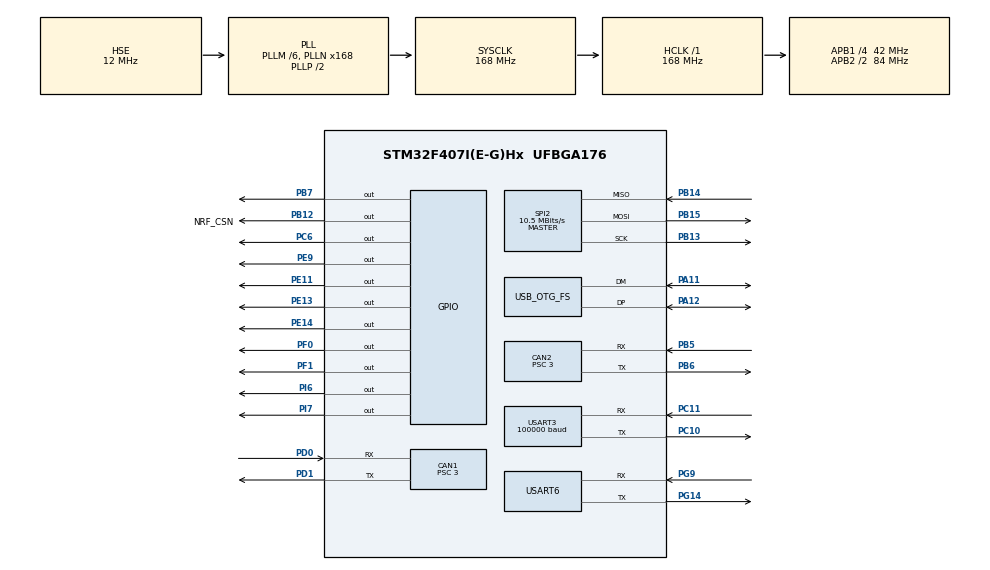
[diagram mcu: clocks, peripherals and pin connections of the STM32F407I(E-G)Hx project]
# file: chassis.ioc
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CAN1.BS1=CAN_BS1_10TQ
CAN1.BS2=CAN_BS2_3TQ
CAN1.CalculateBaudRate=1000000
CAN1.CalculateTimeBit=1000
CAN1.CalculateTimeQuantum=71.42857142857143
CAN1.Prescaler=3
CAN2.BS1=CAN_BS1_10TQ
CAN2.BS2=CAN_BS2_3TQ
CAN2.CalculateBaudRate=1000000
CAN2.CalculateTimeBit=1000
CAN2.CalculateTimeQuantum=71.42857142857143
CAN2.Prescaler=3
Dma.Request0=USART3_RX
Dma.Request1=SPI2_RX
Dma.Request2=SPI2_TX
Dma.SPI2_RX.1.Direction=DMA_PERIPH_TO_MEMORY
Dma.SPI2_RX.1.FIFOMode=DMA_FIFOMODE_DISABLE
Dma.SPI2_RX.1.Instance=DMA1_Stream3
Dma.SPI2_RX.1.MemDataAlignment=DMA_MDATAALIGN_BYTE
Dma.SPI2_RX.1.MemInc=DMA_MINC_ENABLE
Dma.SPI2_RX.1.Mode=DMA_NORMAL
Dma.SPI2_RX.1.PeriphDataAlignment=DMA_PDATAALIGN_BYTE
Dma.SPI2_RX.1.PeriphInc=DMA_PINC_DISABLE
Dma.SPI2_RX.1.Priority=DMA_PRIORITY_LOW
Dma.SPI2_TX.2.Direction=DMA_MEMORY_TO_PERIPH
Dma.SPI2_TX.2.FIFOMode=DMA_FIFOMODE_DISABLE
Dma.SPI2_TX.2.Instance=DMA1_Stream4
Dma.SPI2_TX.2.MemDataAlignment=DMA_MDATAALIGN_BYTE
Dma.SPI2_TX.2.MemInc=DMA_MINC_ENABLE
Dma.SPI2_TX.2.Mode=DMA_NORMAL
Dma.SPI2_TX.2.PeriphDataAlignment=DMA_PDATAALIGN_BYTE
Dma.SPI2_TX.2.PeriphInc=DMA_PINC_DISABLE
Dma.SPI2_TX.2.Priority=DMA_PRIORITY_LOW
Dma.USART3_RX.0.Direction=DMA_PERIPH_TO_MEMORY
Dma.USART3_RX.0.FIFOMode=DMA_FIFOMODE_DISABLE
Dma.USART3_RX.0.Instance=DMA1_Stream1
Dma.USART3_RX.0.MemDataAlignment=DMA_MDATAALIGN_BYTE
Dma.USART3_RX.0.MemInc=DMA_MINC_ENABLE
Dma.USART3_RX.0.Mode=DMA_CIRCULAR
Dma.USART3_RX.0.PeriphDataAlignment=DMA_PDATAALIGN_BYTE
Dma.USART3_RX.0.PeriphInc=DMA_PINC_DISABLE
Dma.USART3_RX.0.Priority=DMA_PRIORITY_VERY_HIGH
Mcu.Family=STM32F4
Mcu.Name=STM32F407I(E-G)Hx
Mcu.Package=UFBGA176
NVIC.CAN1_RX0_IRQn=true\:0\:0\:false\:false\:true\:true\:true\:true
NVIC.CAN2_RX0_IRQn=true\:0\:0\:false\:false\:true\:true\:true\:true
NVIC.DMA1_Stream1_IRQn=true\:0\:0\:false\:false\:true\:false\:true\:true
NVIC.DMA1_Stream3_IRQn=true\:0\:0\:false\:false\:true\:false\:true\:true
NVIC.DMA1_Stream4_IRQn=true\:0\:0\:false\:false\:true\:false\:true\:true
NVIC.OTG_FS_IRQn=true\:0\:0\:false\:false\:true\:false\:true\:true
NVIC.PriorityGroup=NVIC_PRIORITYGROUP_4
NVIC.TIM1_UP_TIM10_IRQn=true\:0\:0\:false\:false\:true\:true\:true\:true
NVIC.TIM2_IRQn=true\:0\:0\:false\:false\:true\:true\:true\:true
NVIC.USART3_IRQn=true\:0\:0\:false\:false\:true\:true\:true\:true
PA11.Mode=Device_Only
PA11.Signal=USB_OTG_FS_DM
PA12.Mode=Device_Only
PA12.Signal=USB_OTG_FS_DP
PA13.Mode=Serial_Wire
PA13.Signal=SYS_JTMS-SWDIO
PA14.Mode=Serial_Wire
PA14.Signal=SYS_JTCK-SWCLK
PB12.GPIO_Label=NRF_CSN
PB12.GPIO_PuPd=GPIO_PULLUP
PB12.PinState=GPIO_PIN_SET
PB12.Signal=GPIO_Output
PB13.Mode=Full_Duplex_Master
PB13.Signal=SPI2_SCK
PB14.Mode=Full_Duplex_Master
PB14.Signal=SPI2_MISO
PB15.Mode=Full_Duplex_Master
PB15.Signal=SPI2_MOSI
PB5.Mode=CAN_Activate
PB5.Signal=CAN2_RX
PB6.Mode=CAN_Activate
PB6.Signal=CAN2_TX
PB7.Signal=GPIO_Output
PC10.Mode=Asynchronous
PC10.Signal=USART3_TX
PC11.Mode=Asynchronous
PC11.Signal=USART3_RX
PC6.PinState=GPIO_PIN_SET
PC6.Signal=GPIO_Output
PD0.Mode=CAN_Activate
PD0.Signal=CAN1_RX
PD1.Mode=CAN_Activate
PD1.Signal=CAN1_TX
PE11.PinState=GPIO_PIN_SET
PE11.Signal=GPIO_Output
PE13.PinState=GPIO_PIN_SET
PE13.Signal=GPIO_Output
PE14.PinState=GPIO_PIN_SET
PE14.Signal=GPIO_Output
PE9.PinState=GPIO_PIN_SET
PE9.Signal=GPIO_Output
PF0.PinState=GPIO_PIN_SET
PF0.Signal=GPIO_Output
PF1.PinState=GPIO_PIN_SET
PF1.Signal=GPIO_Output
PG14.Mode=Asynchronous
PG14.Signal=USART6_TX
PG9.Mode=Asynchronous
PG9.Signal=USART6_RX
PH0-OSC_IN.Mode=HSE-External-Oscillator
PH0-OSC_IN.Signal=RCC_OSC_IN
PH1-OSC_OUT.Mode=HSE-External-Oscillator
PH1-OSC_OUT.Signal=RCC_OSC_OUT
PI6.PinState=GPIO_PIN_SET
PI6.Signal=GPIO_Output
PI7.PinState=GPIO_PIN_RESET
PI7.Signal=GPIO_Output
ProjectManager.HeapSize=0x200
ProjectManager.StackSize=0x400
ProjectManager.TargetToolchain=MDK-ARM V5.32
RCC.48MHZClocksFreq_Value=48000000
RCC.AHBFreq_Value=168000000
RCC.APB1CLKDivider=RCC_HCLK_DIV4
RCC.APB1Freq_Value=42000000
RCC.APB1TimFreq_Value=84000000
RCC.APB2CLKDivider=RCC_HCLK_DIV2
RCC.APB2Freq_Value=84000000
RCC.APB2TimFreq_Value=168000000
RCC.CortexFreq_Value=168000000
RCC.HCLKFreq_Value=168000000
RCC.HSE_VALUE=12000000
RCC.HSI_VALUE=16000000
RCC.LSE_VALUE=32768
RCC.PLLM=6
RCC.PLLN=168
RCC.PLLQ=7
RCC.SYSCLKFreq_VALUE=168000000
RCC.SYSCLKSource=RCC_SYSCLKSOURCE_PLLCLK
RCC.VCOOutputFreq_Value=336000000
SPI2.BaudRatePrescaler=SPI_BAUDRATEPRESCALER_4
SPI2.CalculateBaudRate=10.5 MBits/s
SPI2.Direction=SPI_DIRECTION_2LINES
SPI2.Mode=SPI_MODE_MASTER
SPI2.VirtualType=VM_MASTER
TIM1.Period=999
TIM1.Prescaler=167
TIM2.Period=999
TIM2.Prescaler=167
TIM8.Period=999
TIM8.Prescaler=167
USART3.BaudRate=100000
USART3.Parity=PARITY_EVEN
USART3.VirtualMode=VM_ASYNC
USART6.VirtualMode=VM_ASYNC
USB_DEVICE.CLASS_NAME_FS=CDC
USB_DEVICE.VirtualMode-CDC_FS=Cdc
USB_DEVICE.VirtualModeFS=Cdc_FS
USB_OTG_FS.VirtualMode=Device_Only
VP_TIM1_VS_ClockSourceINT.Mode=Internal
VP_TIM2_VS_ClockSourceINT.Mode=Internal
VP_TIM8_VS_ClockSourceINT.Mode=Internal
VP_USB_DEVICE_VS_USB_DEVICE_CDC_FS.Mode=CDC_FS
board=custom

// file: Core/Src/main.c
/* USER CODE BEGIN Header */
/**
  ******************************************************************************
  * @file           : main.c
  * @brief          : Main program body
  ******************************************************************************
  * @attention
  *
  * Copyright (c) 2025 STMicroelectronics.
  * All rights reserved.
  *
  * This software is licensed under terms that can be found in the LICENSE file
  * in the root directory of this software component.
  * If no LICENSE file comes with this software, it is provided AS-IS.
  *
  ******************************************************************************
  */
/* USER CODE END Header */
#include "main.h"
#include "can.h"
#include "dma.h"
#include "spi.h"
#include "tim.h"
#include "usart.h"
#include "usb_device.h"
#include "gpio.h"

/* USER CODE BEGIN Includes */
#include "chassis_task.h"
#include "driver_contorl.h"
#include "JIDIANQI.h"
#include "NRF24L01.h"
#include "usb_cdc.h"
/* USER CODE END Includes */

/* USER CODE BEGIN PTD */
uint16_t yyy=0;
uint8_t ID;
uint8_t MODE;

uint8_t data[12] = {0};   // 发送数据，12字节
uint8_t RxBuf[12] = {0};   // 接收缓冲区，12字节
uint8_t need_send = 0;    // 需要发送标志

/* USER CODE END PTD */

void SystemClock_Config(void);

int main(void)
{

  /* MCU Configuration--------------------------------------------------------*/

  /* Reset of all peripherals, Initializes the Flash interface and the Systick. */
  HAL_Init();

  /* Configure the system clock */
  SystemClock_Config();

  /* Initialize all configured peripherals */
  MX_GPIO_Init();
  MX_DMA_Init();
  MX_CAN1_Init();
  MX_CAN2_Init();
  MX_USART3_UART_Init();
  MX_TIM1_Init();
  MX_SPI2_Init();
  MX_TIM8_Init();
  MX_TIM2_Init();
  MX_USART6_UART_Init();
  MX_USB_DEVICE_Init();
	usb_cdc_init();
  /* USER CODE BEGIN 2 */
	 driver_contorl_pid();
	chassis_task_D_init();
	HAL_TIM_Base_Start_IT(&htim1);
	 HAL_CAN_Start(&hcan1);
	HAL_CAN_Start(&hcan2);
	NRF24L01_Init();

  /* USER CODE END 2 */

  /* Infinite loop */
  while (1)
  {

  }
}

void SystemClock_Config(void)
{
  RCC_OscInitTypeDef RCC_OscInitStruct = {0};
  RCC_ClkInitTypeDef RCC_ClkInitStruct = {0};

  /** Configure the main internal regulator output voltage
  */
  __HAL_RCC_PWR_CLK_ENABLE();
  __HAL_PWR_VOLTAGESCALING_CONFIG(PWR_REGULATOR_VOLTAGE_SCALE1);

  /** Initializes the RCC Oscillators according to the specified parameters
  * in the RCC_OscInitTypeDef structure.
  */
  RCC_OscInitStruct.OscillatorType = RCC_OSCILLATORTYPE_HSE;
  RCC_OscInitStruct.HSEState = RCC_HSE_ON;
  RCC_OscInitStruct.PLL.PLLState = RCC_PLL_ON;
  RCC_OscInitStruct.PLL.PLLSource = RCC_PLLSOURCE_HSE;
  RCC_OscInitStruct.PLL.PLLM = 6;          /* HSE 12MHz / 6 = 2MHz */
  RCC_OscInitStruct.PLL.PLLN = 168;         /* VCO = 2MHz × 168 = 336MHz */
  RCC_OscInitStruct.PLL.PLLP = RCC_PLLP_DIV2;  /* SYSCLK = 336/2 = 168MHz */
  RCC_OscInitStruct.PLL.PLLQ = 7;           /* USB = 336/7 = 48MHz ✓ */
  if (HAL_RCC_OscConfig(&RCC_OscInitStruct) != HAL_OK)
  {
    Error_Handler();
  }

  /** Initializes the CPU, AHB and APB buses clocks
  */
  RCC_ClkInitStruct.ClockType = RCC_CLOCKTYPE_HCLK|RCC_CLOCKTYPE_SYSCLK
                              |RCC_CLOCKTYPE_PCLK1|RCC_CLOCKTYPE_PCLK2;
  RCC_ClkInitStruct.SYSCLKSource = RCC_SYSCLKSOURCE_PLLCLK;
  RCC_ClkInitStruct.AHBCLKDivider = RCC_SYSCLK_DIV1;
  RCC_ClkInitStruct.APB1CLKDivider = RCC_HCLK_DIV4;
  RCC_ClkInitStruct.APB2CLKDivider = RCC_HCLK_DIV2;

  if (HAL_RCC_ClockConfig(&RCC_ClkInitStruct, FLASH_LATENCY_5) != HAL_OK)
  {
    Error_Handler();
  }
}

void Error_Handler(void)
{
  __disable_irq();
  while (1)
  {
  }
}
